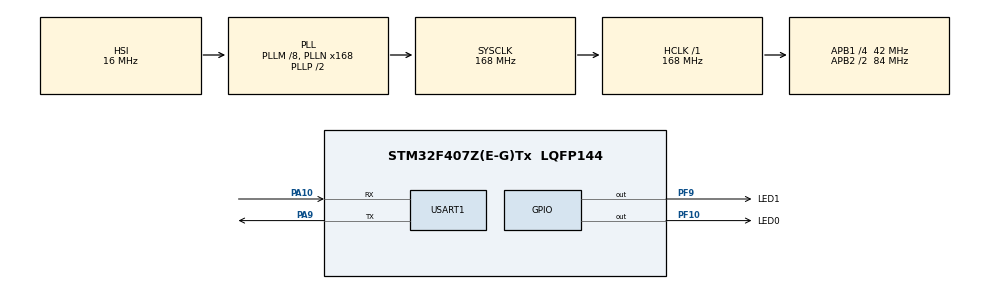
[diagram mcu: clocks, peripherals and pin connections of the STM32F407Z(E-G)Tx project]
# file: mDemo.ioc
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Mcu.Family=STM32F4
Mcu.Name=STM32F407Z(E-G)Tx
Mcu.Package=LQFP144
NVIC.PriorityGroup=NVIC_PRIORITYGROUP_4
PA10.Mode=Asynchronous
PA10.Signal=USART1_RX
PA13.Mode=Serial_Wire
PA13.Signal=SYS_JTMS-SWDIO
PA14.Mode=Serial_Wire
PA14.Signal=SYS_JTCK-SWCLK
PA9.Mode=Asynchronous
PA9.Signal=USART1_TX
PF10.GPIO_Label=LED0
PF10.Signal=GPIO_Output
PF9.GPIO_Label=LED1
PF9.Signal=GPIO_Output
ProjectManager.HeapSize=0x200
ProjectManager.StackSize=0x400
ProjectManager.TargetToolchain=MDK-ARM V5.27
RCC.48MHZClocksFreq_Value=84000000
RCC.AHBFreq_Value=168000000
RCC.APB1CLKDivider=RCC_HCLK_DIV4
RCC.APB1Freq_Value=42000000
RCC.APB1TimFreq_Value=84000000
RCC.APB2CLKDivider=RCC_HCLK_DIV2
RCC.APB2Freq_Value=84000000
RCC.APB2TimFreq_Value=168000000
RCC.CortexFreq_Value=168000000
RCC.HCLKFreq_Value=168000000
RCC.HSE_VALUE=25000000
RCC.HSI_VALUE=16000000
RCC.LSE_VALUE=32768
RCC.PLLM=8
RCC.PLLN=168
RCC.SYSCLKFreq_VALUE=168000000
RCC.SYSCLKSource=RCC_SYSCLKSOURCE_PLLCLK
RCC.VCOOutputFreq_Value=336000000
USART1.VirtualMode=VM_ASYNC
board=custom

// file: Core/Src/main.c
/* USER CODE BEGIN Header */
/**
  ******************************************************************************
  * @file           : main.c
  * @brief          : Main program body
  ******************************************************************************
  * @attention
  *
  * <h2><center>&copy; Copyright (c) 2021 STMicroelectronics.
  * All rights reserved.</center></h2>
  *
  * This software component is licensed by ST under BSD 3-Clause license,
  * the "License"; You may not use this file except in compliance with the
  * License. You may obtain a copy of the License at:
  *                        opensource.org/licenses/BSD-3-Clause
  *
  ******************************************************************************
  */
/* USER CODE END Header */
#include "main.h"
#include "usart.h"
#include "gpio.h"

/* USER CODE BEGIN Includes */
#define LOG_TAG    "main"

#include <elog.h>
#include <stdio.h>
#include <stdlib.h>
/* USER CODE END Includes */

void SystemClock_Config(void);

/* USER CODE BEGIN 0 */
void test_elog(void)
{
    /* test log output for all level */
    log_a("Hello EasyLogger!");
    log_e("Hello EasyLogger!");
    log_w("Hello EasyLogger!");
    log_i("Hello EasyLogger!");
    log_d("Hello EasyLogger!");
    log_v("Hello EasyLogger!");
//    elog_raw("Hello EasyLogger!");
}
/* USER CODE END 0 */

int main(void)
{

  /* MCU Configuration--------------------------------------------------------*/

  /* Reset of all peripherals, Initializes the Flash interface and the Systick. */
  HAL_Init();

  /* Configure the system clock */
  SystemClock_Config();

  /* Initialize all configured peripherals */
  MX_GPIO_Init();
  MX_USART1_UART_Init();
  /* USER CODE BEGIN 2 */
	elog_init();
  /* USER CODE END 2 */

  /* Infinite loop */
  /* USER CODE BEGIN WHILE */
	elog_set_fmt(ELOG_LVL_ASSERT, ELOG_FMT_ALL);
	elog_set_fmt(ELOG_LVL_ERROR, ELOG_FMT_LVL | ELOG_FMT_TAG | ELOG_FMT_TIME);
	elog_set_fmt(ELOG_LVL_WARN, ELOG_FMT_LVL | ELOG_FMT_TAG | ELOG_FMT_TIME);
	elog_set_fmt(ELOG_LVL_INFO, ELOG_FMT_LVL | ELOG_FMT_TAG | ELOG_FMT_TIME);
	elog_set_fmt(ELOG_LVL_DEBUG, ELOG_FMT_ALL & ~(ELOG_FMT_FUNC | ELOG_FMT_T_INFO | ELOG_FMT_P_INFO));
	elog_set_fmt(ELOG_LVL_VERBOSE, ELOG_FMT_ALL & ~(ELOG_FMT_FUNC | ELOG_FMT_T_INFO | ELOG_FMT_P_INFO));

	elog_start();

	while (1)
  {
		test_elog();

//		HAL_UART_Transmit(&huart1,(unsigned char*)"123",3,0xffff);
		HAL_GPIO_TogglePin(LED0_GPIO_Port,LED0_Pin);
		HAL_Delay(1000);
    /* USER CODE END WHILE */

  }
}

void SystemClock_Config(void)
{
  RCC_OscInitTypeDef RCC_OscInitStruct = {0};
  RCC_ClkInitTypeDef RCC_ClkInitStruct = {0};

  /** Configure the main internal regulator output voltage
  */
  __HAL_RCC_PWR_CLK_ENABLE();
  __HAL_PWR_VOLTAGESCALING_CONFIG(PWR_REGULATOR_VOLTAGE_SCALE1);
  /** Initializes the RCC Oscillators according to the specified parameters
  * in the RCC_OscInitTypeDef structure.
  */
  RCC_OscInitStruct.OscillatorType = RCC_OSCILLATORTYPE_HSI;
  RCC_OscInitStruct.HSIState = RCC_HSI_ON;
  RCC_OscInitStruct.HSICalibrationValue = RCC_HSICALIBRATION_DEFAULT;
  RCC_OscInitStruct.PLL.PLLState = RCC_PLL_ON;
  RCC_OscInitStruct.PLL.PLLSource = RCC_PLLSOURCE_HSI;
  RCC_OscInitStruct.PLL.PLLM = 8;
  RCC_OscInitStruct.PLL.PLLN = 168;
  RCC_OscInitStruct.PLL.PLLP = RCC_PLLP_DIV2;
  RCC_OscInitStruct.PLL.PLLQ = 4;
  if (HAL_RCC_OscConfig(&RCC_OscInitStruct) != HAL_OK)
  {
    Error_Handler();
  }
  /** Initializes the CPU, AHB and APB buses clocks
  */
  RCC_ClkInitStruct.ClockType = RCC_CLOCKTYPE_HCLK|RCC_CLOCKTYPE_SYSCLK
                              |RCC_CLOCKTYPE_PCLK1|RCC_CLOCKTYPE_PCLK2;
  RCC_ClkInitStruct.SYSCLKSource = RCC_SYSCLKSOURCE_PLLCLK;
  RCC_ClkInitStruct.AHBCLKDivider = RCC_SYSCLK_DIV1;
  RCC_ClkInitStruct.APB1CLKDivider = RCC_HCLK_DIV4;
  RCC_ClkInitStruct.APB2CLKDivider = RCC_HCLK_DIV2;

  if (HAL_RCC_ClockConfig(&RCC_ClkInitStruct, FLASH_LATENCY_5) != HAL_OK)
  {
    Error_Handler();
  }
}

void Error_Handler(void)
{
  __disable_irq();
  while (1)
  {
  }
}

/************************ (C) COPYRIGHT STMicroelectronics *****END OF FILE****/
